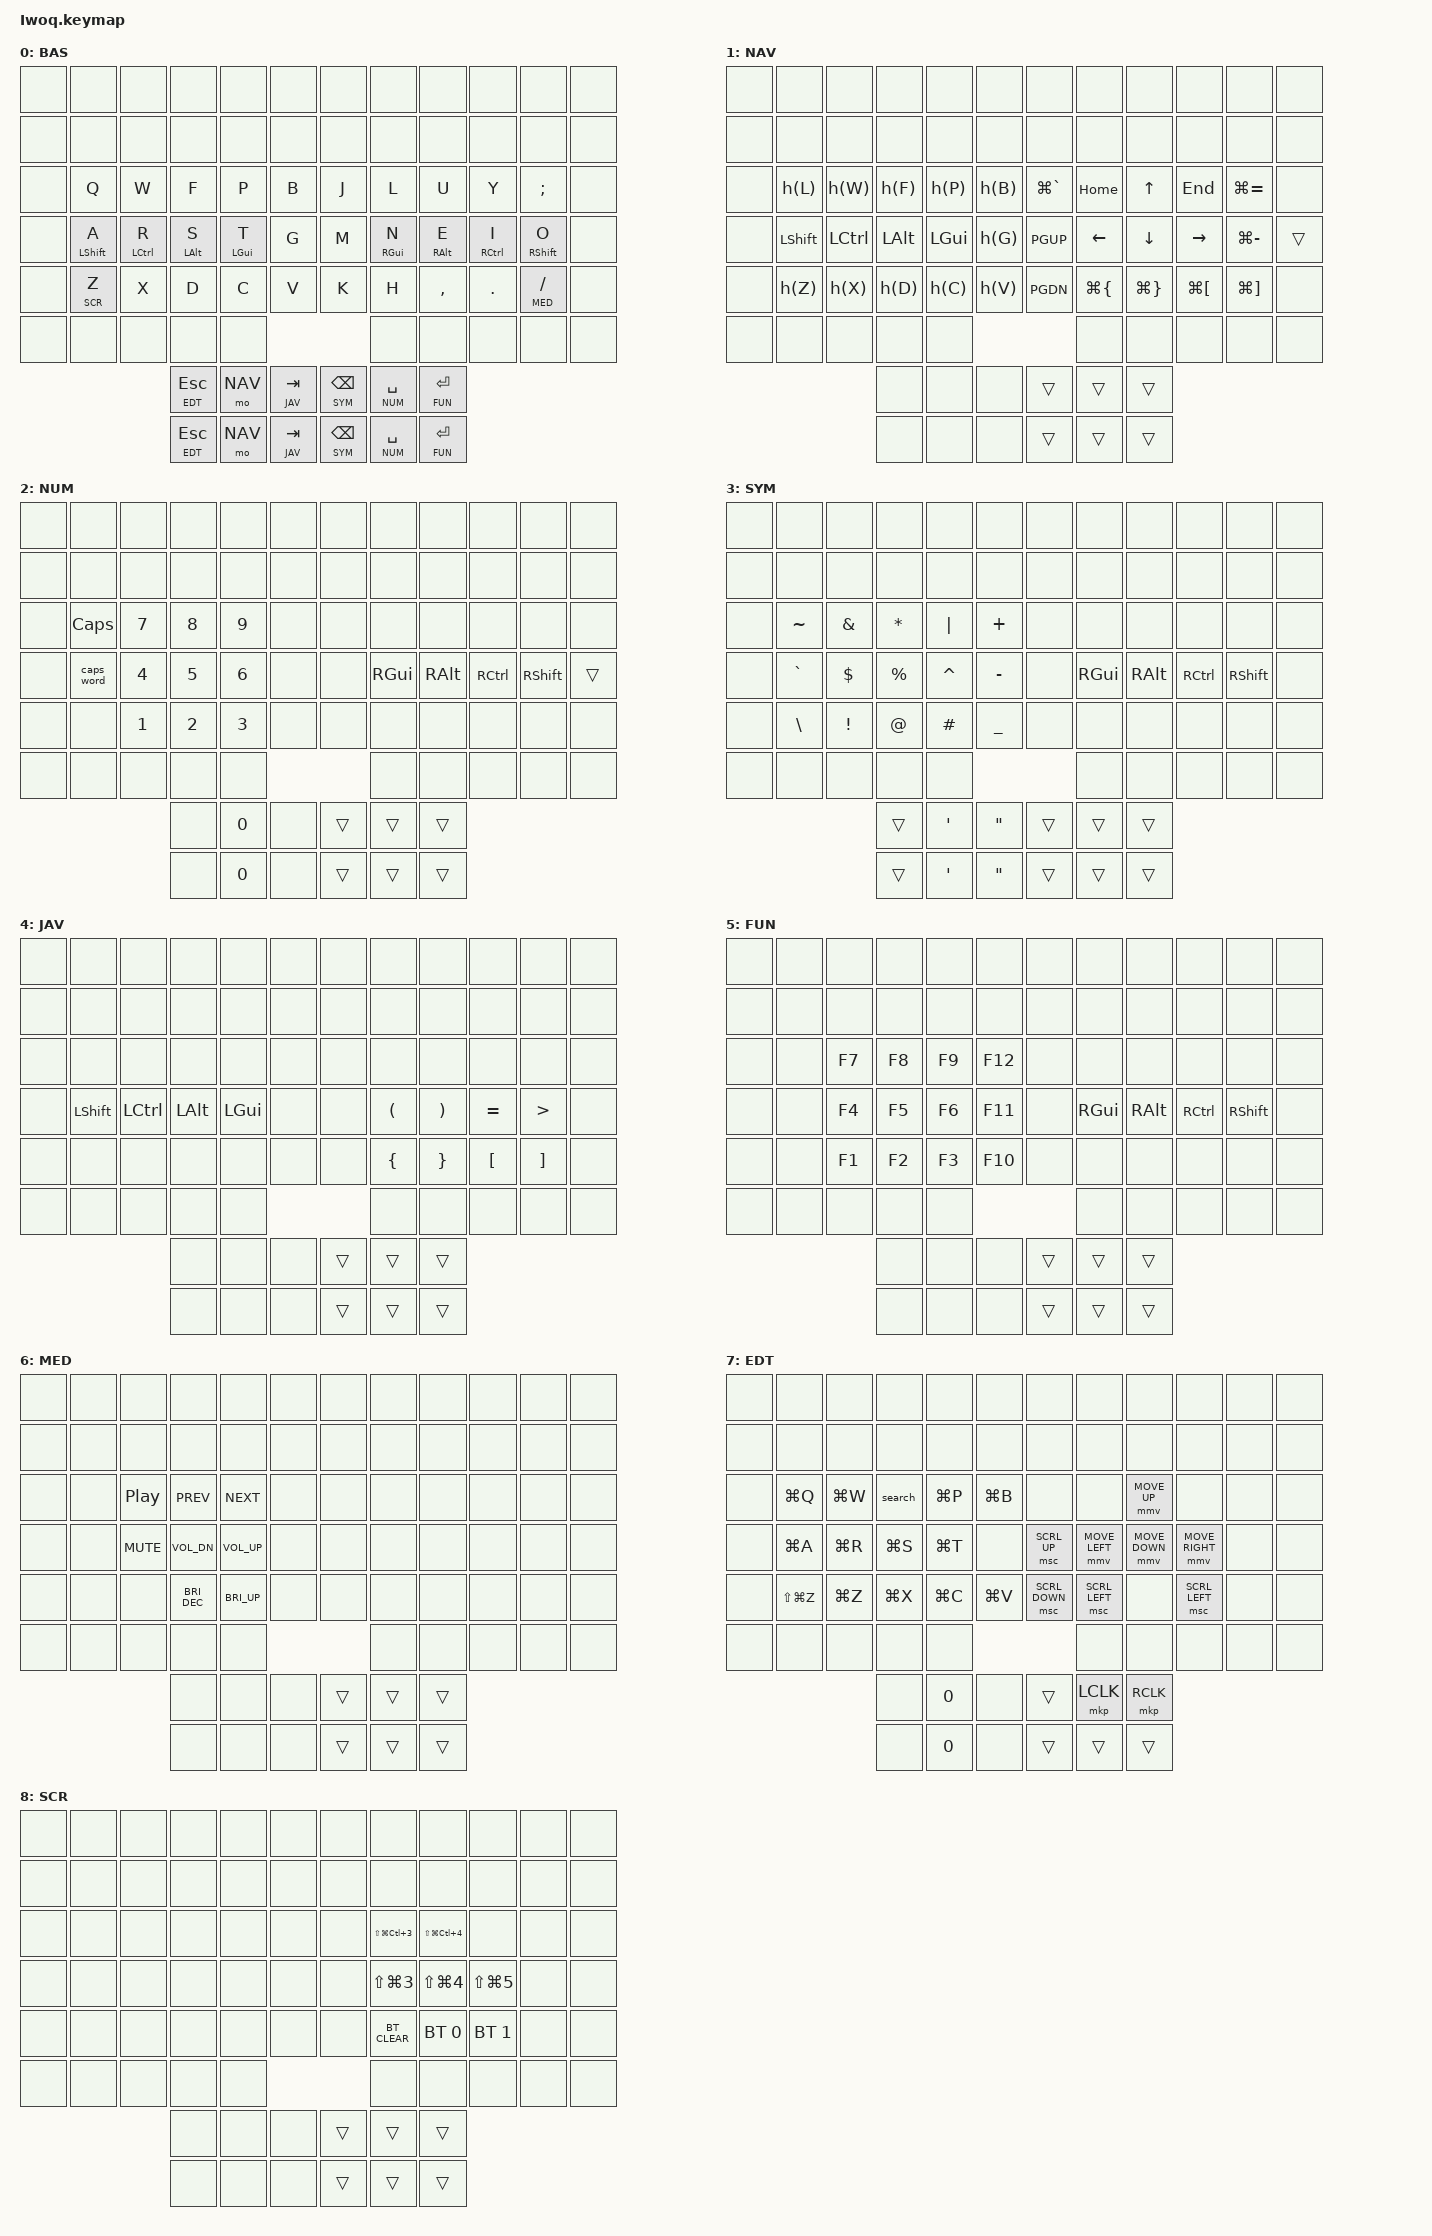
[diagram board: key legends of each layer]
#include <input/processors.dtsi>
#include <dt-bindings/zmk/input_transform.h>
#include <behaviors.dtsi>
#include <dt-bindings/zmk/bt.h>
#include <dt-bindings/zmk/keys.h>
#include <dt-bindings/zmk/pointing.h>
#include <dt-bindings/zmk/rgb.h>

#define ZMK_POINTING_DEFAULT_MOVE_VAL 1500

#define BAS 0
#define NAV 1
#define NUM 2
#define SYM 3
#define JAV 4
#define FUN 5
#define MED 6
#define EDT 7
#define SCR 8

#define h(n)  LS(LC(LA(LG(n))))
#define g(n)  LG(n)

#define BACK  LG(LBRC)
#define FWRD  LG(RBRC)
#define PREV  LG(LBKT)
#define NEXT  LG(RBKT)
#define CYCLE LG(GRAVE)
#define ZIN   LG(EQUAL)
#define ZOUT  LG(MINUS)

#define FS_CB  LS(LG(LC(N3)))
#define SS_CB  LS(LG(LC(N4)))
#define FS_FL  LS(LG(N3))
#define SS_FL  LS(LG(N4))
#define SMENU  LS(LG(N5))

/ {
    chosen { zmk,matrix-transform = &imprint_function_row_full_bottom_row; };

    behaviors {()
         hm: home_row_mod {
              compatible = "zmk,behavior-hold-tap";
              #binding-cells = <2>;
              tapping-term-ms = <150>;
              quick-tap-ms = <0>;
              flavor = "tap-preferred";
              bindings = <&kp>, <&kp>;
         };

        search: search_macro {
            compatible = "zmk,behavior-macro";
            #binding-cells = <0>;
            bindings
                = <&macro_tap &kp ESC>
                , <&macro_wait_time 10>
                , <&macro_press &kp LCMD>
                , <&macro_tap &kp E>
                , <&macro_release &kp LCMD>;
        };
    };

    keymap {
        compatible = "zmk,keymap";

        BAS {
            bindings = <
// -------------|-------------|-------------|-------------|-------------|-------------|   |-------------|-------------|-------------|-------------|-------------|-------------|
       &none         &none         &none         &none         &none         &none             &none         &none         &none         &none         &none         &none
// -------------|-------------|-------------|-------------|-------------|-------------|   |-------------|-------------|-------------|-------------|-------------|-------------|
       &none         &none         &none         &none         &none         &none             &none         &none         &none         &none         &none         &none
// -------------|-------------|-------------|-------------|-------------|-------------|   |-------------|-------------|-------------|-------------|-------------|-------------|
       &none         &kp Q         &kp W         &kp F         &kp P         &kp B             &kp J         &kp L         &kp U         &kp Y        &kp SEMI       &none
// -------------|-------------|-------------|-------------|-------------|-------------|   |-------------|-------------|-------------|-------------|-------------|-------------|
       &none      &hm LSHFT A   &hm LCTRL R    &hm LALT S    &hm LGUI T      &kp G             &kp M       &hm RGUI N    &hm RALT E   &hm RCTRL I   &hm RSHFT O      &none
// -------------|-------------|-------------|-------------|-------------|-------------|   |-------------|-------------|-------------|-------------|-------------|-------------|
       &none       &lt SCR Z       &kp X         &kp D         &kp C         &kp V             &kp K         &kp H       &kp COMMA      &kp DOT     &lt MED FSLH     &none
// -------------|-------------|-------------|-------------|-------------|-------------|   |-------------|-------------|-------------|-------------|-------------|-------------|
       &none         &none         &none         &none         &none                                         &none         &none         &none         &none         &none
// -------------|-------------|-------------|-------------|-------------|-------------|   |-------------|-------------|-------------|-------------|-------------|-------------|
                                              &lt EDT ESC     &mo NAV     &lt JAV TAB      &lt SYM BSPC  &lt NUM SPACE  &lt FUN RET
//                                          |-------------|-------------|-------------|   |-------------|-------------|-------------|
                                              &lt EDT ESC     &mo NAV     &lt JAV TAB      &lt SYM BSPC  &lt NUM SPACE  &lt FUN RET                                         >;};
//                                          |-------------|-------------|-------------|   |-------------|-------------|-------------|

        NAV {
            bindings = <
// -------------|-------------|-------------|-------------|-------------|-------------|   |-------------|-------------|-------------|-------------|-------------|-------------|
       &none         &none         &none         &none         &none         &none             &none         &none         &none         &none         &none         &none
// -------------|-------------|-------------|-------------|-------------|-------------|   |-------------|-------------|-------------|-------------|-------------|-------------|
       &none         &none         &none         &none         &none         &none             &none         &none         &none         &none         &none         &none
// -------------|-------------|-------------|-------------|-------------|-------------|   |-------------|-------------|-------------|-------------|-------------|-------------|
       &none        &kp h(L)      &kp h(W)      &kp h(F)      &kp h(P)      &kp h(B)         &kp CYCLE      &kp HOME       &kp UP       &kp END       &kp ZIN        &none
// -------------|-------------|-------------|-------------|-------------|-------------|   |-------------|-------------|-------------|-------------|-------------|-------------|
       &none       &kp LSHFT     &kp LCTRL      &kp LALT      &kp LGUI      &kp h(G)          &kp PGUP      &kp LEFT      &kp DOWN     &kp RIGHT      &kp ZOUT       &trans
// -------------|-------------|-------------|-------------|-------------|-------------|   |-------------|-------------|-------------|-------------|-------------|-------------|
       &none        &kp h(Z)      &kp h(X)      &kp h(D)      &kp h(C)      &kp h(V)          &kp PGDN      &kp BACK      &kp FWRD      &kp PREV      &kp NEXT       &none
// -------------|-------------|-------------|-------------|-------------|-------------|   |-------------|-------------|-------------|-------------|-------------|-------------|
       &none         &none         &none         &none         &none                                         &none         &none         &none         &none         &none
// -------------|-------------|-------------|-------------|-------------|-------------|   |-------------|-------------|-------------|-------------|-------------|-------------|
                                                 &none         &none         &none             &trans        &trans        &trans
//                                          |-------------|-------------|-------------|   |-------------|-------------|-------------|
                                                 &none         &none         &none             &trans        &trans        &trans                                          >;};
//                                          |-------------|-------------|-------------|   |-------------|-------------|-------------|

        NUM {
            bindings = <
// -------------|-------------|-------------|-------------|-------------|-------------|   |-------------|-------------|-------------|-------------|-------------|-------------|
       &none         &none         &none         &none         &none         &none             &none         &none         &none         &none         &none         &none
// -------------|-------------|-------------|-------------|-------------|-------------|   |-------------|-------------|-------------|-------------|-------------|-------------|
       &none         &none         &none         &none         &none         &none             &none         &none         &none         &none         &none         &none
// -------------|-------------|-------------|-------------|-------------|-------------|   |-------------|-------------|-------------|-------------|-------------|-------------|
       &none        &kp CAPS       &kp N7        &kp N8        &kp N9        &none             &none         &none         &none         &none         &none         &none
// -------------|-------------|-------------|-------------|-------------|-------------|   |-------------|-------------|-------------|-------------|-------------|-------------|
       &none       &caps_word      &kp N4        &kp N5        &kp N6        &none             &none        &kp RGUI      &kp RALT     &kp RCTRL     &kp RSHFT      &trans
// -------------|-------------|-------------|-------------|-------------|-------------|   |-------------|-------------|-------------|-------------|-------------|-------------|
       &none         &none         &kp N1        &kp N2        &kp N3        &none             &none         &none         &none         &none         &none         &none
// -------------|-------------|-------------|-------------|-------------|-------------|   |-------------|-------------|-------------|-------------|-------------|-------------|
       &none         &none         &none         &none         &none                                         &none         &none         &none         &none         &none
// -------------|-------------|-------------|-------------|-------------|-------------|   |-------------|-------------|-------------|-------------|-------------|-------------|
                                                 &none         &kp N0        &none             &trans        &trans        &trans
//                                          |-------------|-------------|-------------|   |-------------|-------------|-------------|
                                                 &none         &kp N0        &none             &trans        &trans        &trans                                          >;};
//                                          |-------------|-------------|-------------|   |-------------|-------------|-------------|


        SYM {
            bindings = <
// -------------|-------------|-------------|-------------|-------------|-------------|   |-------------|-------------|-------------|-------------|-------------|-------------|
       &none         &none         &none         &none         &none         &none             &none         &none         &none         &none         &none         &none
// -------------|-------------|-------------|-------------|-------------|-------------|   |-------------|-------------|-------------|-------------|-------------|-------------|
       &none         &none         &none         &none         &none         &none             &none         &none         &none         &none         &none         &none
// -------------|-------------|-------------|-------------|-------------|-------------|   |-------------|-------------|-------------|-------------|-------------|-------------|
       &none       &kp TILDE      &kp AMPS      &kp STAR      &kp PIPE      &kp PLUS           &none         &none         &none         &none         &none         &none
// -------------|-------------|-------------|-------------|-------------|-------------|   |-------------|-------------|-------------|-------------|-------------|-------------|
       &none       &kp GRAVE      &kp DLLR     &kp PRCNT     &kp CARET     &kp MINUS           &none        &kp RGUI      &kp RALT     &kp RCTRL     &kp RSHFT       &none
// -------------|-------------|-------------|-------------|-------------|-------------|   |-------------|-------------|-------------|-------------|-------------|-------------|
       &none       &kp BSLH       &kp EXCL       &kp AT      &kp POUND     &kp UNDER           &none         &none         &none         &none         &none         &none
// -------------|-------------|-------------|-------------|-------------|-------------|   |-------------|-------------|-------------|-------------|-------------|-------------|
       &none         &none         &none         &none         &none                                         &none         &none         &none         &none         &none
// -------------|-------------|-------------|-------------|-------------|-------------|   |-------------|-------------|-------------|-------------|-------------|-------------|
                                                &trans        &kp SQT       &kp DQT           &trans        &trans        &trans
//                                          |-------------|-------------|-------------|   |-------------|-------------|-------------|
                                                &trans        &kp SQT       &kp DQT           &trans        &trans        &trans                                          >;};
//                                          |-------------|-------------|-------------|   |-------------|-------------|-------------|

        JAV {
            bindings = <
// -------------|-------------|-------------|-------------|-------------|-------------|   |-------------|-------------|-------------|-------------|-------------|-------------|
       &none         &none         &none         &none         &none         &none             &none         &none         &none         &none         &none         &none
// -------------|-------------|-------------|-------------|-------------|-------------|   |-------------|-------------|-------------|-------------|-------------|-------------|
       &none         &none         &none         &none         &none         &none             &none         &none         &none         &none         &none         &none
// -------------|-------------|-------------|-------------|-------------|-------------|   |-------------|-------------|-------------|-------------|-------------|-------------|
       &none         &none         &none         &none         &none         &none             &none         &none         &none         &none         &none         &none
// -------------|-------------|-------------|-------------|-------------|-------------|   |-------------|-------------|-------------|-------------|-------------|-------------|
       &none       &kp LSHFT     &kp LCTRL      &kp LALT      &kp LGUI       &none             &none       &kp LPAR      &kp RPAR     &kp EQUAL       &kp GT        &none
// -------------|-------------|-------------|-------------|-------------|-------------|   |-------------|-------------|-------------|-------------|-------------|-------------|
       &none         &none         &none         &none         &none         &none             &none        &kp LBRC      &kp RBRC      &kp LBKT      &kp RBKT       &none
// -------------|-------------|-------------|-------------|-------------|-------------|   |-------------|-------------|-------------|-------------|-------------|-------------|
       &none         &none         &none         &none         &none                                         &none         &none         &none         &none         &none
// -------------|-------------|-------------|-------------|-------------|-------------|   |-------------|-------------|-------------|-------------|-------------|-------------|
                                                 &none         &none         &none             &trans        &trans        &trans
//                                          |-------------|-------------|-------------|   |-------------|-------------|-------------|
                                                 &none         &none         &none             &trans        &trans        &trans                                          >;};
//                                          |-------------|-------------|-------------|   |-------------|-------------|-------------|


        FUN {
            bindings = <

// -------------|-------------|-------------|-------------|-------------|-------------|   |-------------|-------------|-------------|-------------|-------------|-------------|
       &none         &none         &none         &none         &none         &none             &none         &none         &none         &none         &none         &none
// -------------|-------------|-------------|-------------|-------------|-------------|   |-------------|-------------|-------------|-------------|-------------|-------------|
       &none         &none         &none         &none         &none         &none             &none         &none         &none         &none         &none         &none
// -------------|-------------|-------------|-------------|-------------|-------------|   |-------------|-------------|-------------|-------------|-------------|-------------|
       &none         &none         &kp F7        &kp F8        &kp F9       &kp F12            &none         &none         &none         &none         &none         &none
// -------------|-------------|-------------|-------------|-------------|-------------|   |-------------|-------------|-------------|-------------|-------------|-------------|
       &none         &none         &kp F4        &kp F5        &kp F6       &kp F11            &none        &kp RGUI      &kp RALT     &kp RCTRL     &kp RSHFT       &none
// -------------|-------------|-------------|-------------|-------------|-------------|   |-------------|-------------|-------------|-------------|-------------|-------------|
       &none         &none         &kp F1        &kp F2        &kp F3       &kp F10            &none         &none         &none         &none         &none         &none
// -------------|-------------|-------------|-------------|-------------|-------------|   |-------------|-------------|-------------|-------------|-------------|-------------|
       &none         &none         &none         &none         &none                                         &none         &none         &none         &none         &none
// -------------|-------------|-------------|-------------|-------------|-------------|   |-------------|-------------|-------------|-------------|-------------|-------------|
                                                 &none         &none         &none             &trans        &trans        &trans
//                                          |-------------|-------------|-------------|   |-------------|-------------|-------------|
                                                 &none         &none         &none             &trans        &trans        &trans                                          >;};
//                                          |-------------|-------------|-------------|   |-------------|-------------|-------------|

        MED {
            bindings = <
// -------------|-------------|-------------|-------------|-------------|-------------|   |-------------|-------------|-------------|-------------|-------------|-------------|
       &none         &none         &none         &none         &none         &none             &none         &none         &none         &none         &none         &none
// -------------|-------------|-------------|-------------|-------------|-------------|   |-------------|-------------|-------------|-------------|-------------|-------------|
       &none         &none         &none         &none         &none         &none             &none         &none         &none         &none         &none         &none
// -------------|-------------|-------------|-------------|-------------|-------------|   |-------------|-------------|-------------|-------------|-------------|-------------|
       &none         &none        &kp C_PP     &kp C_PREV    &kp C_NEXT      &none             &none         &none         &none         &none         &none         &none
// -------------|-------------|-------------|-------------|-------------|-------------|   |-------------|-------------|-------------|-------------|-------------|-------------|
       &none         &none       &kp C_MUTE   &kp C_VOL_DN  &kp C_VOL_UP     &none             &none         &none         &none         &none         &none         &none
// -------------|-------------|-------------|-------------|-------------|-------------|   |-------------|-------------|-------------|-------------|-------------|-------------|
       &none         &none         &none     &kp C_BRI_DEC  &kp C_BRI_UP     &none             &none         &none         &none         &none         &none         &none
// -------------|-------------|-------------|-------------|-------------|-------------|   |-------------|-------------|-------------|-------------|-------------|-------------|
       &none         &none         &none         &none         &none                                         &none         &none         &none         &none         &none
// -------------|-------------|-------------|-------------|-------------|-------------|   |-------------|-------------|-------------|-------------|-------------|-------------|
                                                 &none         &none         &none             &trans        &trans        &trans
//                                          |-------------|-------------|-------------|   |-------------|-------------|-------------|
                                                 &none         &none         &none             &trans        &trans        &trans                                          >;};
//                                          |-------------|-------------|-------------|   |-------------|-------------|-------------|

        EDT {
            bindings = <
// -------------|-------------|-------------|-------------|-------------|-------------|   |-------------|-------------|-------------|-------------|-------------|-------------|
       &none         &none         &none         &none         &none         &none             &none         &none         &none         &none         &none         &none
// -------------|-------------|-------------|-------------|-------------|-------------|   |-------------|-------------|-------------|-------------|-------------|-------------|
       &none         &none         &none         &none         &none         &none             &none         &none         &none         &none         &none         &none
// -------------|-------------|-------------|-------------|-------------|-------------|   |-------------|-------------|-------------|-------------|-------------|-------------|
       &none       &kp LG(Q)     &kp LG(W)      &search      &kp LG(P)     &kp LG(B)           &none         &none      &mmv MOVE_UP     &none         &none         &none
// -------------|-------------|-------------|-------------|-------------|-------------|   |-------------|-------------|-------------|-------------|-------------|-------------|
       &none       &kp LG(A)     &kp LG(R)     &kp LG(S)     &kp LG(T)       &none          &msc SCRL_UP &mmv MOVE_LEFT &mmv MOVE_DOWN &mmv MOVE_RIGHT &none         &none
// -------------|-------------|-------------|-------------|-------------|-------------|   |-------------|-------------|-------------|-------------|-------------|-------------|
       &none     &kp LS(LG(Z))   &kp LG(Z)     &kp LG(X)     &kp LG(C)     &kp LG(V)       &msc SCRL_DOWN &msc SCRL_LEFT   &none     &msc SCRL_LEFT    &none         &none
// -------------|-------------|-------------|-------------|-------------|-------------|   |-------------|-------------|-------------|-------------|-------------|-------------|
       &none         &none         &none         &none         &none                                         &none         &none         &none         &none         &none
// -------------|-------------|-------------|-------------|-------------|-------------|   |-------------|-------------|-------------|-------------|-------------|-------------|
                                                 &none         &kp N0        &none             &trans      &mkp LCLK     &mkp RCLK
//                                          |-------------|-------------|-------------|   |-------------|-------------|-------------|
                                                 &none         &kp N0        &none             &trans       &trans        &trans                                           >;};
//                                          |-------------|-------------|-------------|   |-------------|-------------|-------------|

       SCR {
            bindings = <
// -------------|-------------|-------------|-------------|-------------|-------------|   |-------------|-------------|-------------|-------------|-------------|-------------|
       &none         &none         &none         &none         &none         &none             &none         &none         &none         &none         &none         &none
// -------------|-------------|-------------|-------------|-------------|-------------|   |-------------|-------------|-------------|-------------|-------------|-------------|
       &none         &none         &none         &none         &none         &none             &none         &none         &none         &none         &none         &none
// -------------|-------------|-------------|-------------|-------------|-------------|   |-------------|-------------|-------------|-------------|-------------|-------------|
       &none         &none         &none         &none         &none         &none             &none       &kp FS_CB     &kp SS_CB       &none         &none         &none
// -------------|-------------|-------------|-------------|-------------|-------------|   |-------------|-------------|-------------|-------------|-------------|-------------|
       &none         &none         &none         &none         &none         &none             &none       &kp FS_FL     &kp SS_FL     &kp SMENU       &none         &none
// -------------|-------------|-------------|-------------|-------------|-------------|   |-------------|-------------|-------------|-------------|-------------|-------------|
       &none         &none         &none         &none         &none         &none             &none      &bt BT_CLEAR  &bt BT_SEL 0  &bt BT_SEL 1     &none         &none
// -------------|-------------|-------------|-------------|-------------|-------------|   |-------------|-------------|-------------|-------------|-------------|-------------|
       &none         &none         &none         &none         &none                                         &none         &none         &none         &none         &none
// -------------|-------------|-------------|-------------|-------------|-------------|   |-------------|-------------|-------------|-------------|-------------|-------------|
                                                 &none         &none         &none             &trans       &trans        &trans
//                                          |-------------|-------------|-------------|   |-------------|-------------|-------------|
                                                 &none         &none         &none             &trans       &trans        &trans                                           >;};
//                                          |-------------|-------------|-------------|   |-------------|-------------|-------------|

    };
};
